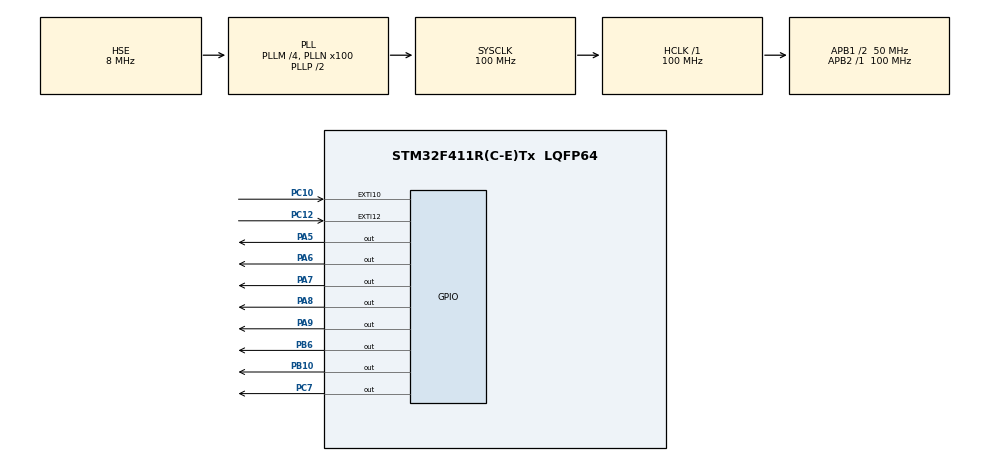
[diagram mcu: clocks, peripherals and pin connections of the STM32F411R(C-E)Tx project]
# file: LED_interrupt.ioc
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Mcu.Family=STM32F4
Mcu.Name=STM32F411R(C-E)Tx
Mcu.Package=LQFP64
NVIC.EXTI15_10_IRQn=true\:0\:0\:false\:false\:true\:true\:true\:true
NVIC.PriorityGroup=NVIC_PRIORITYGROUP_4
PA13.Mode=Serial_Wire
PA13.Signal=SYS_JTMS-SWDIO
PA14.Mode=Serial_Wire
PA14.Signal=SYS_JTCK-SWCLK
PA5.PinState=GPIO_PIN_SET
PA5.Signal=GPIO_Output
PA6.PinState=GPIO_PIN_SET
PA6.Signal=GPIO_Output
PA7.PinState=GPIO_PIN_SET
PA7.Signal=GPIO_Output
PA8.PinState=GPIO_PIN_SET
PA8.Signal=GPIO_Output
PA9.PinState=GPIO_PIN_SET
PA9.Signal=GPIO_Output
PB10.PinState=GPIO_PIN_SET
PB10.Signal=GPIO_Output
PB6.PinState=GPIO_PIN_SET
PB6.Signal=GPIO_Output
PC10.GPIO_ModeDefaultEXTI=GPIO_MODE_IT_FALLING
PC10.GPIO_PuPd=GPIO_NOPULL
PC10.Signal=GPXTI10
PC12.GPIO_ModeDefaultEXTI=GPIO_MODE_IT_RISING
PC12.GPIO_PuPd=GPIO_PULLUP
PC12.Signal=GPXTI12
PC7.PinState=GPIO_PIN_SET
PC7.Signal=GPIO_Output
PH0\ -\ OSC_IN.Mode=HSE-External-Oscillator
PH0\ -\ OSC_IN.Signal=RCC_OSC_IN
PH1\ -\ OSC_OUT.Mode=HSE-External-Oscillator
PH1\ -\ OSC_OUT.Signal=RCC_OSC_OUT
ProjectManager.HeapSize=0x200
ProjectManager.StackSize=0x400
ProjectManager.TargetToolchain=STM32CubeIDE
RCC.48MHZClocksFreq_Value=50000000
RCC.AHBFreq_Value=100000000
RCC.APB1CLKDivider=RCC_HCLK_DIV2
RCC.APB1Freq_Value=50000000
RCC.APB1TimFreq_Value=100000000
RCC.APB2Freq_Value=100000000
RCC.APB2TimFreq_Value=100000000
RCC.CortexFreq_Value=100000000
RCC.HCLKFreq_Value=100000000
RCC.HSE_VALUE=8000000
RCC.HSI_VALUE=16000000
RCC.LSE_VALUE=32768
RCC.PLLM=4
RCC.PLLN=100
RCC.PLLSourceVirtual=RCC_PLLSOURCE_HSE
RCC.SYSCLKFreq_VALUE=100000000
RCC.SYSCLKSource=RCC_SYSCLKSOURCE_PLLCLK
RCC.VCOOutputFreq_Value=200000000
board=custom

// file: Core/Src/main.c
/* USER CODE BEGIN Header */
/**
  ******************************************************************************
  * @file           : main.c
  * @brief          : Main program body
  ******************************************************************************
  * @attention
  *
  * Copyright (c) 2023 STMicroelectronics.
  * All rights reserved.
  *
  * This software is licensed under terms that can be found in the LICENSE file
  * in the root directory of this software component.
  * If no LICENSE file comes with this software, it is provided AS-IS.
  *
  ******************************************************************************
  */
/* USER CODE END Header */
#include "main.h"
#include "gpio.h"

/* USER CODE BEGIN PV */
  GPIO_TypeDef *led2_GPIO[8]=
      {
          GPIOA,GPIOA,GPIOA,GPIOB,GPIOC,GPIOA,GPIOA,GPIOB
      };
  uint16_t led2_GPIO_PIN[8]=
      {
          GPIO_PIN_5,GPIO_PIN_6,GPIO_PIN_7,GPIO_PIN_6,GPIO_PIN_7,GPIO_PIN_9,GPIO_PIN_8,GPIO_PIN_10
      };
 uint8_t state=0;
/* USER CODE END PV */

void SystemClock_Config(void);
/* USER CODE BEGIN PFP */
void HAL_GPIO_EXTI_Callback(uint16_t GPIO_Pin)
{

    if(GPIO_Pin == GPIO_PIN_12)
     {
       state = (state+1)%3;
     }
}
/* USER CODE END PFP */

int main(void)
{

  /* MCU Configuration--------------------------------------------------------*/

  /* Reset of all peripherals, Initializes the Flash interface and the Systick. */
  HAL_Init();

  /* Configure the system clock */
  SystemClock_Config();

  /* Initialize all configured peripherals */
  MX_GPIO_Init();

  /* Infinite loop */
  while (1)
  {

    /* USER CODE BEGIN 3 */
    switch(state)
    {
      case 0:
        for(int i=0; i<8; i++)
        {
          HAL_GPIO_WritePin(led2_GPIO[i], led2_GPIO_PIN[i], 1);
          HAL_Delay(150);
          HAL_GPIO_WritePin(led2_GPIO[i], led2_GPIO_PIN[i], 0);
        }
        break;
      case 1:
        for(int i=7; i>=0; i--)
      {

        HAL_GPIO_WritePin(led2_GPIO[i], led2_GPIO_PIN[i], 1);
        HAL_Delay(150);
        HAL_GPIO_WritePin(led2_GPIO[i], led2_GPIO_PIN[i], 0);
      }
        break;
      case 2:
        for(int i=0; i<8; i++)
        {

          HAL_GPIO_WritePin(led2_GPIO[i], led2_GPIO_PIN[i], 1);
          HAL_Delay(150);
          HAL_GPIO_WritePin(led2_GPIO[i], led2_GPIO_PIN[i], 0);
        }
        for(int i=7; i>=0; i--)
        {

          HAL_GPIO_WritePin(led2_GPIO[i], led2_GPIO_PIN[i], 1);
          HAL_Delay(150);
          HAL_GPIO_WritePin(led2_GPIO[i], led2_GPIO_PIN[i], 0);
        }
        break;
      default:
        break;
    }

  }
  /* USER CODE END 3 */
}

void SystemClock_Config(void)
{
  RCC_OscInitTypeDef RCC_OscInitStruct = {0};
  RCC_ClkInitTypeDef RCC_ClkInitStruct = {0};

  /** Configure the main internal regulator output voltage
  */
  __HAL_RCC_PWR_CLK_ENABLE();
  __HAL_PWR_VOLTAGESCALING_CONFIG(PWR_REGULATOR_VOLTAGE_SCALE1);

  /** Initializes the RCC Oscillators according to the specified parameters
  * in the RCC_OscInitTypeDef structure.
  */
  RCC_OscInitStruct.OscillatorType = RCC_OSCILLATORTYPE_HSE;
  RCC_OscInitStruct.HSEState = RCC_HSE_ON;
  RCC_OscInitStruct.PLL.PLLState = RCC_PLL_ON;
  RCC_OscInitStruct.PLL.PLLSource = RCC_PLLSOURCE_HSE;
  RCC_OscInitStruct.PLL.PLLM = 4;
  RCC_OscInitStruct.PLL.PLLN = 100;
  RCC_OscInitStruct.PLL.PLLP = RCC_PLLP_DIV2;
  RCC_OscInitStruct.PLL.PLLQ = 4;
  if (HAL_RCC_OscConfig(&RCC_OscInitStruct) != HAL_OK)
  {
    Error_Handler();
  }

  /** Initializes the CPU, AHB and APB buses clocks
  */
  RCC_ClkInitStruct.ClockType = RCC_CLOCKTYPE_HCLK|RCC_CLOCKTYPE_SYSCLK
                              |RCC_CLOCKTYPE_PCLK1|RCC_CLOCKTYPE_PCLK2;
  RCC_ClkInitStruct.SYSCLKSource = RCC_SYSCLKSOURCE_PLLCLK;
  RCC_ClkInitStruct.AHBCLKDivider = RCC_SYSCLK_DIV1;
  RCC_ClkInitStruct.APB1CLKDivider = RCC_HCLK_DIV2;
  RCC_ClkInitStruct.APB2CLKDivider = RCC_HCLK_DIV1;

  if (HAL_RCC_ClockConfig(&RCC_ClkInitStruct, FLASH_LATENCY_3) != HAL_OK)
  {
    Error_Handler();
  }
}

void Error_Handler(void)
{
  __disable_irq();
  while (1)
  {
  }
}
